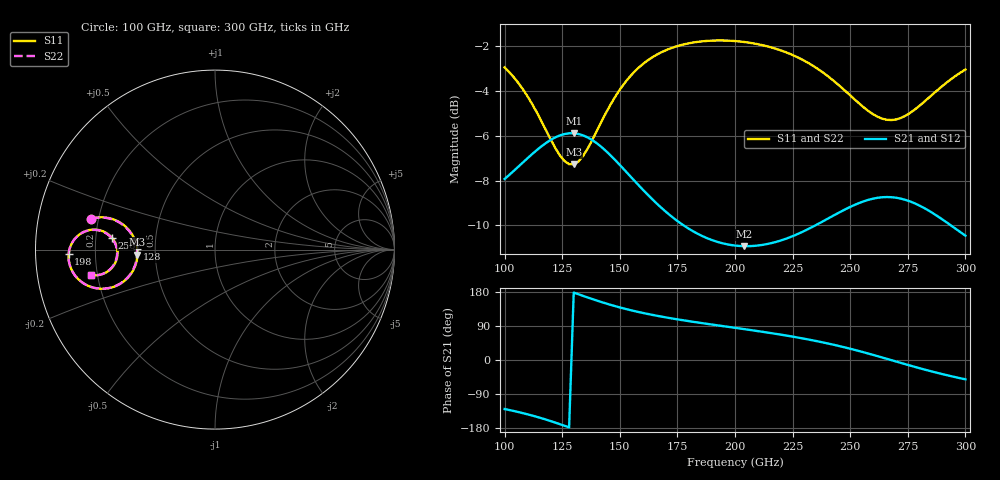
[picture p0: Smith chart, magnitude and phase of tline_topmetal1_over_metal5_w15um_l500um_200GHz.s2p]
#  GHZ S DB R 50
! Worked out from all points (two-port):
!   101 points, 100 GHz to 300 GHz, reference 50 ohm
!   highest |S21| = -5.89 dB at 130 GHz (marker M1); lowest = -10.9 dB at 204 GHz (marker M2)
!   |S21| within 3 dB of the highest: start of sweep to 164.7 GHz; 256.8 GHz to 274.9 GHz (18.12 GHz wide, 6.82 % of centre)
!   lowest |S11| = -7.3 dB at 130 GHz (marker M3), VSWR 2.53, Z = 19.8 - j1.34 ohm
!   |S11| at or under -10 dB: nowhere
!   |S22| runs from -7.2 to -1.8 dB; largest |S21 - S12| = 5.7e-14
!   S11 on the Smith chart (normalised r, x): 100 GHz: 0.17, +0.12; 128 GHz: 0.40, +0.00; 198 GHz: 0.10, -0.02; 256 GHz: 0.27, +0.05; 300 GHz: 0.18, -0.10
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100  -2.96 166.0  -7.93 -129.4  -7.93 -129.4  -2.95 166.1
108  -3.94 163.7  -7.19 -140.3  -7.19 -140.3  -3.93 163.8
114  -4.97 163.7  -6.64 -150.1  -6.64 -150.1  -4.94 163.9
122  -6.55 169.5  -6.08 -165.2  -6.08 -165.2  -6.51 169.6
128  -7.27 179.6  -5.89 -177.8  -5.89 -177.8  -7.22 179.7
130  -7.28 -176.4  -5.89 177.9  -5.89 177.9  -7.23 -176.3
134  -6.91 -169.0  -5.98 169.3  -5.98 169.3  -6.87 -169.0
142  -5.38 -160.8  -6.50 153.0  -6.50 153.0  -5.36 -160.9
148  -4.27 -159.8  -7.09 142.1  -7.09 142.1  -4.25 -159.9
156  -3.19 -161.8  -7.97 129.6  -7.97 129.6  -3.18 -161.9
168  -2.29 -166.7  -9.21 114.6  -9.21 114.6  -2.28 -166.7
182  -1.85 -172.4  -10.27 100.6  -10.27 100.6  -1.84 -172.4
198  -1.77 -178.2  -10.87 86.6  -10.87 86.6  -1.77 -178.1
200  -1.78 -178.8  -10.89 84.9  -10.89 84.9  -1.78 -178.8
204  -1.83 179.8  -10.92 81.5  -10.92 81.5  -1.82 179.9
220  -2.21 174.9  -10.66 66.8  -10.66 66.8  -2.20 175.0
234  -2.90 171.4  -10.04 51.5  -10.04 51.5  -2.88 171.6
246  -3.83 170.5  -9.38 35.7  -9.38 35.7  -3.81 170.7
256  -4.75 173.3  -8.92 20.1  -8.92 20.1  -4.72 173.5
268  -5.30 -178.1  -8.74 -0.6  -8.74 -0.6  -5.27 -178.0
284  -4.32 -168.6  -9.33 -28.0  -9.33 -28.0  -4.29 -168.6
300  -3.05 -168.4  -10.45 -51.0  -10.45 -51.0  -3.04 -168.5
